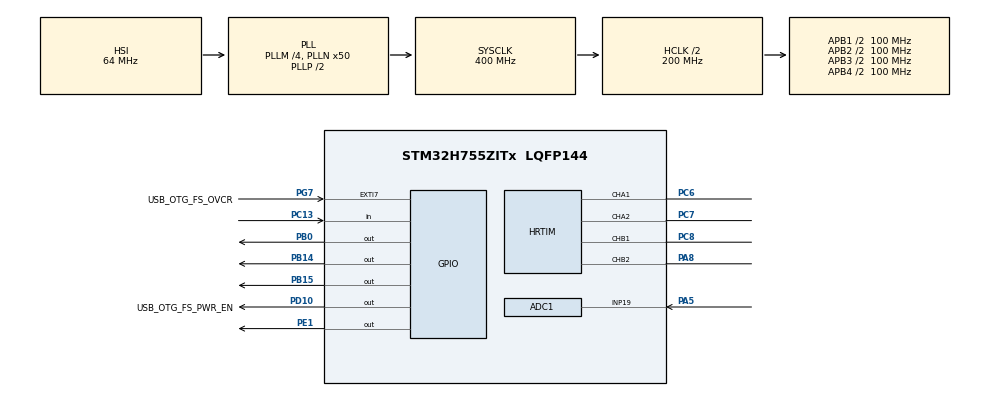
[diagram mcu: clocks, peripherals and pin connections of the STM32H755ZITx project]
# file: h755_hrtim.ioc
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ADC1.Channel-0\#ChannelRegularConversion=ADC_CHANNEL_19
ADC1.ConversionDataManagement=ADC_CONVERSIONDATA_DMA_CIRCULAR
ADC1.ExternalTrigConv=ADC_EXTERNALTRIG_HR1_ADCTRG1
ADC1.NbrOfConversion=1
ADC1.NbrOfConversionFlag=1
ADC1.OffsetNumber-0\#ChannelRegularConversion=ADC_OFFSET_NONE
ADC1.OffsetSignedSaturation-0\#ChannelRegularConversion=DISABLE
ADC1.Rank-0\#ChannelRegularConversion=1
ADC1.SamplingTime-0\#ChannelRegularConversion=ADC_SAMPLETIME_16CYCLES_5
ADC1.master=1
CortexM4.IPs=FATFS_M4\:I,FREERTOS_M4\:I,IWDG2\:I,RCC,WWDG2\:I,DMA,BDMA,MDMA,NVIC2\:I,ETH,USART3,DEBUG,PDM2PCM_M4\:I,PWR,RESMGR_UTILITY,SYS_M4\:I,USB_DEVICE_M4\:I,USB_HOST_M4\:I,CORTEX_M4\:I,GPIO,OPENAMP_M4\:I,VREFBUF,NUCLEO-H755ZI-Q
CortexM4.Pins=PB0,PB14,PE1
CortexM7.IPs=FATFS_M7\:I,FREERTOS_M7\:I,IWDG1\:I,RCC\:I,WWDG1\:I,DMA\:I,BDMA\:I,MDMA\:I,NVIC1\:I,ETH\:I,USART3\:I,USB_OTG_FS\:I,SYS\:I,CORTEX_M7\:I,DEBUG\:I,PDM2PCM_M7\:I,PWR\:I,RESMGR_UTILITY\:I,USB_DEVICE_M7\:I,USB_HOST_M7\:I,GPIO\:I,OPENAMP_M7\:I,VREFBUF\:I,NUCLEO-H755ZI-Q\:I,MEMORYMAP\:I,HRTIM\:I,ADC1\:I
CortexM7.Pins=PB15
Dma.ADC1.0.Direction=DMA_PERIPH_TO_MEMORY
Dma.ADC1.0.EventEnable=DISABLE
Dma.ADC1.0.FIFOMode=DMA_FIFOMODE_DISABLE
Dma.ADC1.0.Instance=DMA1_Stream0
Dma.ADC1.0.MemDataAlignment=DMA_MDATAALIGN_HALFWORD
Dma.ADC1.0.MemInc=DMA_MINC_ENABLE
Dma.ADC1.0.Mode=DMA_CIRCULAR
Dma.ADC1.0.PeriphDataAlignment=DMA_PDATAALIGN_HALFWORD
Dma.ADC1.0.PeriphInc=DMA_PINC_DISABLE
Dma.ADC1.0.Polarity=HAL_DMAMUX_REQ_GEN_RISING
Dma.ADC1.0.Priority=DMA_PRIORITY_HIGH
Dma.ADC1.0.RequestNumber=1
Dma.ADC1.0.SignalID=NONE
Dma.ADC1.0.SyncEnable=DISABLE
Dma.ADC1.0.SyncPolarity=HAL_DMAMUX_SYNC_NO_EVENT
Dma.ADC1.0.SyncRequestNumber=1
Dma.ADC1.0.SyncSignalID=NONE
Dma.HRTIM1_A.1.Direction=DMA_MEMORY_TO_PERIPH
Dma.HRTIM1_A.1.EventEnable=DISABLE
Dma.HRTIM1_A.1.FIFOMode=DMA_FIFOMODE_DISABLE
Dma.HRTIM1_A.1.Instance=DMA1_Stream1
Dma.HRTIM1_A.1.MemDataAlignment=DMA_MDATAALIGN_WORD
Dma.HRTIM1_A.1.MemInc=DMA_MINC_ENABLE
Dma.HRTIM1_A.1.Mode=DMA_CIRCULAR
Dma.HRTIM1_A.1.PeriphDataAlignment=DMA_PDATAALIGN_WORD
Dma.HRTIM1_A.1.PeriphInc=DMA_PINC_DISABLE
Dma.HRTIM1_A.1.Polarity=HAL_DMAMUX_REQ_GEN_RISING
Dma.HRTIM1_A.1.Priority=DMA_PRIORITY_VERY_HIGH
Dma.HRTIM1_A.1.RequestNumber=1
Dma.HRTIM1_A.1.SignalID=NONE
Dma.HRTIM1_A.1.SyncEnable=DISABLE
Dma.HRTIM1_A.1.SyncPolarity=HAL_DMAMUX_SYNC_NO_EVENT
Dma.HRTIM1_A.1.SyncRequestNumber=1
Dma.HRTIM1_A.1.SyncSignalID=NONE
Dma.HRTIM1_B.2.Direction=DMA_MEMORY_TO_PERIPH
Dma.HRTIM1_B.2.EventEnable=DISABLE
Dma.HRTIM1_B.2.FIFOMode=DMA_FIFOMODE_DISABLE
Dma.HRTIM1_B.2.Instance=DMA1_Stream2
Dma.HRTIM1_B.2.MemDataAlignment=DMA_MDATAALIGN_WORD
Dma.HRTIM1_B.2.MemInc=DMA_MINC_ENABLE
Dma.HRTIM1_B.2.Mode=DMA_CIRCULAR
Dma.HRTIM1_B.2.PeriphDataAlignment=DMA_PDATAALIGN_WORD
Dma.HRTIM1_B.2.PeriphInc=DMA_PINC_DISABLE
Dma.HRTIM1_B.2.Polarity=HAL_DMAMUX_REQ_GEN_RISING
Dma.HRTIM1_B.2.Priority=DMA_PRIORITY_VERY_HIGH
Dma.HRTIM1_B.2.RequestNumber=1
Dma.HRTIM1_B.2.SignalID=NONE
Dma.HRTIM1_B.2.SyncEnable=DISABLE
Dma.HRTIM1_B.2.SyncPolarity=HAL_DMAMUX_SYNC_NO_EVENT
Dma.HRTIM1_B.2.SyncRequestNumber=1
Dma.HRTIM1_B.2.SyncSignalID=NONE
Dma.Request0=ADC1
Dma.Request1=HRTIM1_A
Dma.Request2=HRTIM1_B
HRTIM.ADCTrigger1_Source1=HRTIM_ADCTRIGGEREVENT13_MASTER_CMP1
HRTIM.ADCTrigger_Id1=HRTIM_ADCTRIGGER_1
HRTIM.BurstDMAconfig-Output_TA1TA2=HRTIM_TIMERINDEX_TIMER_A
HRTIM.BurstDMAconfig-Output_TB1TB2=HRTIM_TIMERINDEX_TIMER_B
HRTIM.CaptureUnit1-Output_TA1TA2=__NULL
HRTIM.CompareUnit1-MasterTimer=HRTIM_COMPAREUNIT_1
HRTIM.CompareUnit1-Output_TA1TA2=HRTIM_COMPAREUNIT_1
HRTIM.CompareUnit1-Output_TB1TB2=HRTIM_COMPAREUNIT_1
HRTIM.CompareUnit2-MasterTimer=__NULL
HRTIM.CompareUnit2-Output_TA1TA2=HRTIM_COMPAREUNIT_2
HRTIM.CompareUnit2-Output_TB1TB2=HRTIM_COMPAREUNIT_2
HRTIM.CompareUnit3-Output_TA1TA2=__NULL
HRTIM.CompareUnit4-Output_TA1TA2=__NULL
HRTIM.CompareUnit4-Output_TB1TB2=__NULL
HRTIM.CompareValue1-MasterTimer=0x1046
HRTIM.CompareValue1-Output_TA1TA2=0x0341
HRTIM.CompareValue1-Output_TB1TB2=0x0341
HRTIM.CompareValue2-Output_TA1TA2=0x1D4B
HRTIM.CompareValue2-Output_TB1TB2=0x1D4B
HRTIM.Configuration_TA=Waveform
HRTIM.DMADstAddress-Output_TA1TA2=(uint32_t)&hhrtim.Instance->sCommonRegs.BDMADR
HRTIM.DMADstAddress-Output_TB1TB2=(uint32_t)&hhrtim.Instance->sCommonRegs.BDMADR
HRTIM.DMARequests1-Output_TA1TA2=HRTIM_TIM_DMA_UPD
HRTIM.DMARequests1-Output_TB1TB2=HRTIM_TIM_DMA_UPD
HRTIM.DMASize-Output_TA1TA2=0x2
HRTIM.DMASize-Output_TB1TB2=0x2
HRTIM.DMASrcAddress-Output_TA1TA2=(uint32_t)hrtim_dma_buffer
HRTIM.DMASrcAddress-Output_TB1TB2=(uint32_t)hrtim_dma_buffer1
HRTIM.DeadTimeInsertion-Output_TA1TA2=HRTIM_TIMDEADTIMEINSERTION_ENABLED
HRTIM.DeadTimeInsertion-Output_TB1TB2=HRTIM_TIMDEADTIMEINSERTION_ENABLED
HRTIM.Deadtimeconfig-Output_TA1TA2=HRTIM_TIMERINDEX_TIMER_A
HRTIM.FallingValue-Output_TA1TA2=0x28
HRTIM.FallingValue-Output_TB1TB2=0x28
HRTIM.ModeTimeBase-MasterTimer=HRTIM_MODE_CONTINUOUS
HRTIM.NumberADCTriggerSource1=1
HRTIM.NumberDMARequests_TA=1
HRTIM.NumberDMARequests_TB=1
HRTIM.NumberRegisters_BURSTDMA-Output_TA1TA2=2
HRTIM.NumberRegisters_BURSTDMA-Output_TB1TB2=2
HRTIM.NumberResetSource1-Output_TA1TA2=1
HRTIM.NumberResetSource1-Output_TB1TB2=1
HRTIM.NumberResetSource2_TA=0
HRTIM.NumberResetTrigger-Output_TA1TA2=1
HRTIM.NumberResetTrigger-Output_TB1TB2=1
HRTIM.NumberSetSource1-Output_TA1TA2=1
HRTIM.NumberSetSource1-Output_TB1TB2=1
HRTIM.NumberSetSource2_TA=0
HRTIM.Periode_MASTER=0x208D
HRTIM.Periode_TA=0x208D
HRTIM.Periode_TB=0x208D
HRTIM.Polarity2-Output_TA1TA2=HRTIM_OUTPUTPOLARITY_HIGH
HRTIM.PreloadEnable-Output_TA1TA2=HRTIM_PRELOAD_ENABLED
HRTIM.PreloadEnable-Output_TB1TB2=HRTIM_PRELOAD_ENABLED
HRTIM.PrescalerRatio_TA=HRTIM_PRESCALERRATIO_DIV1
HRTIM.RegistersToUpdate_Source1-Output_TA1TA2=HRTIM_BURSTDMA_CMP1
HRTIM.RegistersToUpdate_Source1-Output_TB1TB2=HRTIM_BURSTDMA_CMP1
HRTIM.RegistersToUpdate_Source2-Output_TA1TA2=HRTIM_BURSTDMA_CMP2
HRTIM.RegistersToUpdate_Source2-Output_TB1TB2=HRTIM_BURSTDMA_CMP2
HRTIM.RepetitionUpdate-Output_TA1TA2=HRTIM_UPDATEONREPETITION_ENABLED
HRTIM.RepetitionUpdate-Output_TB1TB2=HRTIM_UPDATEONREPETITION_ENABLED
HRTIM.ResetOutput1_Source1-Output_TA1TA2=HRTIM_OUTPUTRESET_TIMCMP1
HRTIM.ResetOutput1_Source1-Output_TB1TB2=HRTIM_OUTPUTRESET_TIMCMP1
HRTIM.ResetTrigger1-Output_TA1TA2=HRTIM_TIMRESETTRIGGER_MASTER_PER
HRTIM.ResetTrigger1-Output_TB1TB2=HRTIM_TIMRESETTRIGGER_MASTER_PER
HRTIM.ResetUpdate-Output_TA1TA2=HRTIM_TIMUPDATEONRESET_DISABLED
HRTIM.RisingValue-Output_TA1TA2=0x28
HRTIM.RisingValue-Output_TB1TB2=0x28
HRTIM.SetOutput1_Source1-Output_TA1TA2=HRTIM_OUTPUTSET_TIMCMP2
HRTIM.SetOutput1_Source1-Output_TB1TB2=HRTIM_OUTPUTSET_TIMCMP2
HRTIM.UpdateGating-Output_TA1TA2=HRTIM_UPDATEGATING_INDEPENDENT
Mcu.Family=STM32H7
Mcu.Name=STM32H755ZITx
Mcu.Package=LQFP144
NVIC1.ADC_IRQn=true\:0\:0\:false\:false\:true\:true\:true\:true
NVIC1.DMA1_Stream0_IRQn=true\:0\:0\:false\:false\:true\:false\:true\:true
NVIC1.DMA1_Stream1_IRQn=true\:0\:0\:false\:false\:true\:false\:true\:true
NVIC1.DMA1_Stream2_IRQn=true\:0\:0\:false\:false\:true\:false\:true\:true
NVIC1.HRTIM1_FLT_IRQn=true\:0\:0\:false\:false\:true\:true\:true\:true
NVIC1.HRTIM1_TIMA_IRQn=true\:0\:0\:false\:false\:true\:true\:true\:true
NVIC1.PriorityGroup=NVIC_PRIORITYGROUP_4
NVIC2.PriorityGroup=NVIC_PRIORITYGROUP_4
PA1.PinAttribute=CortexM7
PA1.Signal=ETH_REF_CLK
PA11.PinAttribute=CortexM7
PA11.Signal=USB_OTG_FS_DM
PA12.PinAttribute=CortexM7
PA12.Signal=USB_OTG_FS_DP
PA2.PinAttribute=CortexM7
PA2.Signal=ETH_MDIO
PA5.PinAttribute=CortexM7
PA5.Signal=ADCx_INP19
PA7.PinAttribute=CortexM7
PA7.Signal=ETH_CRS_DV
PA8.Mode=Output_TB1TB2
PA8.PinAttribute=CortexM7
PA8.Signal=HRTIM_CHB2
PA9.PinAttribute=CortexM7
PA9.Signal=USB_OTG_FS_VBUS
PB0.PinAttribute=CortexM4
PB0.Signal=GPIO_Output
PB13.PinAttribute=CortexM7
PB13.Signal=ETH_TXD1
PB14.PinAttribute=CortexM4
PB14.Signal=GPIO_Output
PB15.PinAttribute=CortexM7
PB15.Signal=GPIO_Output
PC1.PinAttribute=CortexM7
PC1.Signal=ETH_MDC
PC13.PinAttribute=Free
PC13.Signal=GPIO_Input
PC14-OSC32_IN\ (OSC32_IN).PinAttribute=Free
PC14-OSC32_IN\ (OSC32_IN).Signal=RCC_OSC32_IN
PC15-OSC32_OUT\ (OSC32_OUT).PinAttribute=Free
PC15-OSC32_OUT\ (OSC32_OUT).Signal=RCC_OSC32_OUT
PC4.PinAttribute=CortexM7
PC4.Signal=ETH_RXD0
PC5.PinAttribute=CortexM7
PC5.Signal=ETH_RXD1
PC6.Mode=Output_TA1TA2
PC6.PinAttribute=CortexM7
PC6.Signal=HRTIM_CHA1
PC7.Mode=Output_TA1TA2
PC7.PinAttribute=CortexM7
PC7.Signal=HRTIM_CHA2
PC8.Mode=Output_TB1TB2
PC8.PinAttribute=CortexM7
PC8.Signal=HRTIM_CHB1
PD10.GPIO_Label=USB_OTG_FS_PWR_EN
PD10.PinAttribute=Free
PD10.Signal=GPIO_Output
PD8.PinAttribute=CortexM7
PD8.Signal=USART3_TX
PD9.PinAttribute=CortexM7
PD9.Signal=USART3_RX
PE1.PinAttribute=CortexM4
PE1.Signal=GPIO_Output
PG11.PinAttribute=CortexM7
PG11.Signal=ETH_TX_EN
PG13.PinAttribute=CortexM7
PG13.Signal=ETH_TXD0
PG7.GPIO_Label=USB_OTG_FS_OVCR
PG7.PinAttribute=Free
PG7.Signal=GPXTI7
PH0-OSC_IN\ (PH0).Mode=HSE-External-Oscillator
PH0-OSC_IN\ (PH0).PinAttribute=Free
PH0-OSC_IN\ (PH0).Signal=RCC_OSC_IN
PH1-OSC_OUT\ (PH1).Mode=HSE-External-Oscillator
PH1-OSC_OUT\ (PH1).PinAttribute=Free
PH1-OSC_OUT\ (PH1).Signal=RCC_OSC_OUT
ProjectManager.HeapSize=M4-0x200,M7-0x200
ProjectManager.StackSize=M4-0x400,M7-0x400
ProjectManager.TargetToolchain=STM32CubeIDE
RCC.ADCFreq_Value=80000000
RCC.APB1Freq_Value=100000000
RCC.APB2Freq_Value=100000000
RCC.APB3Freq_Value=100000000
RCC.APB4Freq_Value=100000000
RCC.CortexFreq_Value=400000000
RCC.D1PPRE=RCC_APB3_DIV2
RCC.D2PPRE1=RCC_APB1_DIV2
RCC.D2PPRE2=RCC_APB2_DIV2
RCC.D3PPRE=RCC_APB4_DIV2
RCC.DIVM1=4
RCC.DIVM2=4
RCC.DIVN1=50
RCC.DIVN2=10
RCC.DIVQ1=5
RCC.HCLKFreq_Value=200000000
RCC.HPRE=RCC_HCLK_DIV2
RCC.HRTIMCLockSelection=RCC_HRTIM1CLK_CPUCLK
RCC.HSE_VALUE=8000000
RCC.PLL2FRACN=0
RCC.PLL3FRACN=0
RCC.PLLFRACN=0
RCC.SYSCLKFreq_VALUE=400000000
RCC.SYSCLKSource=RCC_SYSCLKSOURCE_PLLCLK
RCC.SupplySource=PWR_DIRECT_SMPS_SUPPLY
RCC.USBFreq_Value=160000000
SH.ADCx_INP19.0=ADC1_INP19,IN19-Single-Ended
VP_HRTIM_VS_hrtimMasterTimerNoOutput.Mode=MasterTimer
VP_MEMORYMAP_VS_MEMORYMAP.Mode=CurAppReg
VP_SYS_M4_VS_Systick.Mode=SysTick
board=NUCLEO-H755ZI-Q

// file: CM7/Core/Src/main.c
/* USER CODE BEGIN Header */
/**
 ******************************************************************************
 * @file           : main.c
 * @brief          : Main program body
 ******************************************************************************
 * @attention
 *
 * Copyright (c) 2026 STMicroelectronics.
 * All rights reserved.
 *
 * This software is licensed under terms that can be found in the LICENSE file
 * in the root directory of this software component.
 * If no LICENSE file comes with this software, it is provided AS-IS.
 *
 ******************************************************************************
 */
/* USER CODE END Header */
#include "main.h"
#include "adc.h"
#include "dma.h"
#include "hrtim.h"
#include "gpio.h"

/* USER CODE BEGIN Includes */

#include "LI_Measures.h"
#include "LI_Actuators.h"
#include <stdbool.h>

/* USER CODE END Includes */

/* USER CODE BEGIN PD */

/* DUAL_CORE_BOOT_SYNC_SEQUENCE: Define for dual core boot synchronization    */
/*                             demonstration code based on hardware semaphore */
/* This define is present in both CM7/CM4 projects                            */
/* To comment when developping/debugging on a single core                     */
#define DUAL_CORE_BOOT_SYNC_SEQUENCE

#if defined(DUAL_CORE_BOOT_SYNC_SEQUENCE)
#ifndef HSEM_ID_0
#define HSEM_ID_0 (0U) /* HW semaphore 0*/
#endif
#endif /* DUAL_CORE_BOOT_SYNC_SEQUENCE */

/* USER CODE END PD */

/* USER CODE BEGIN PV */

// HRTIM

float value_a = 50.0f;
float value_b = 50.0f;

/* USER CODE END PV */

void SystemClock_Config(void);

int main(void)
{

/* USER CODE BEGIN Boot_Mode_Sequence_0 */
#if defined(DUAL_CORE_BOOT_SYNC_SEQUENCE)
  int32_t timeout;
#endif /* DUAL_CORE_BOOT_SYNC_SEQUENCE */
/* USER CODE END Boot_Mode_Sequence_0 */

/* USER CODE BEGIN Boot_Mode_Sequence_1 */
#if defined(DUAL_CORE_BOOT_SYNC_SEQUENCE)
  /* Wait until CPU2 boots and enters in stop mode or timeout*/
  timeout = 0xFFFF;
  while ((__HAL_RCC_GET_FLAG(RCC_FLAG_D2CKRDY) != RESET) && (timeout-- > 0))
    ;
  if (timeout < 0)
  {
    // Error_Handler();
  }
#endif /* DUAL_CORE_BOOT_SYNC_SEQUENCE */
/* USER CODE END Boot_Mode_Sequence_1 */
  /* MCU Configuration--------------------------------------------------------*/

  /* Reset of all peripherals, Initializes the Flash interface and the Systick. */
  HAL_Init();

  /* Configure the system clock */
  SystemClock_Config();
/* USER CODE BEGIN Boot_Mode_Sequence_2 */
#if defined(DUAL_CORE_BOOT_SYNC_SEQUENCE)
  /* When system initialization is finished, Cortex-M7 will release Cortex-M4 by means of
  HSEM notification */
  /*HW semaphore Clock enable*/
  __HAL_RCC_HSEM_CLK_ENABLE();
  /*Take HSEM */
  HAL_HSEM_FastTake(HSEM_ID_0);
  /*Release HSEM in order to notify the CPU2(CM4)*/
  HAL_HSEM_Release(HSEM_ID_0, 0);
  /* wait until CPU2 wakes up from stop mode */
  timeout = 0xFFFF;
  while ((__HAL_RCC_GET_FLAG(RCC_FLAG_D2CKRDY) == RESET) && (timeout-- > 0))
    ;
  if (timeout < 0)
  {
    // Error_Handler();
  }
#endif /* DUAL_CORE_BOOT_SYNC_SEQUENCE */
/* USER CODE END Boot_Mode_Sequence_2 */

  /* Initialize all configured peripherals */
  MX_GPIO_Init();
  MX_DMA_Init();
  MX_HRTIM_Init();
  MX_ADC1_Init();
  /* USER CODE BEGIN 2 */

  // ADC
  if (LI_start_adc_dma() != LI_MEASURES_STATUS_OK)
  {
    Error_Handler();
  }

  // HRTIM
  if (LI_initialize_timers() != LI_ACTUATORS_STATUS_OK)
  {
    Error_Handler();
  }

  if (LI_start_timer(TIMER_A) != LI_ACTUATORS_STATUS_OK)
  {
    Error_Handler();
  }

  if (LI_start_timer(TIMER_B) != LI_ACTUATORS_STATUS_OK)
  {
    Error_Handler();
  }

  /* USER CODE END 2 */

  /* Infinite loop */
  /* USER CODE BEGIN WHILE */

  float old_value_a = -1.0f;
  float old_value_b = -1.0f;
  uint32_t ultimo_toggle_timer_a = HAL_GetTick();
  bool timer_a_ligado = true;

  while (1)
  {

    /*
    if ((HAL_GetTick() - ultimo_toggle_timer_a) >= 1000U)
    {
      if (timer_a_ligado)
      {
        (void)LI_stop_timer(TIMER_A);
        // LI_start_timer(TIMER_B);
        timer_a_ligado = false;
      }
      else
      {
        (void)LI_start_timer(TIMER_A);
        // LI_stop_timer(TIMER_B);
        timer_a_ligado = true;
      }
      ultimo_toggle_timer_a = HAL_GetTick();
    }
    */

    if (old_value_a != value_a)
    {
      (void)LI_hrtim_update_duty_channel(TIMER_A, value_a);
      old_value_a = value_a;
    }

    if (old_value_b != value_b)
    {
      (void)LI_hrtim_update_duty_channel(TIMER_B, value_b);
      old_value_b = value_b;
    }

    (void)LI_pwm_control();

    /* USER CODE END WHILE */

  }
}

void SystemClock_Config(void)
{
  RCC_OscInitTypeDef RCC_OscInitStruct = {0};
  RCC_ClkInitTypeDef RCC_ClkInitStruct = {0};

  /** Supply configuration update enable
  */
  HAL_PWREx_ConfigSupply(PWR_DIRECT_SMPS_SUPPLY);

  /** Configure the main internal regulator output voltage
  */
  __HAL_PWR_VOLTAGESCALING_CONFIG(PWR_REGULATOR_VOLTAGE_SCALE1);

  while(!__HAL_PWR_GET_FLAG(PWR_FLAG_VOSRDY)) {}

  /** Initializes the RCC Oscillators according to the specified parameters
  * in the RCC_OscInitTypeDef structure.
  */
  RCC_OscInitStruct.OscillatorType = RCC_OSCILLATORTYPE_HSI;
  RCC_OscInitStruct.HSIState = RCC_HSI_DIV1;
  RCC_OscInitStruct.HSICalibrationValue = RCC_HSICALIBRATION_DEFAULT;
  RCC_OscInitStruct.PLL.PLLState = RCC_PLL_ON;
  RCC_OscInitStruct.PLL.PLLSource = RCC_PLLSOURCE_HSI;
  RCC_OscInitStruct.PLL.PLLM = 4;
  RCC_OscInitStruct.PLL.PLLN = 50;
  RCC_OscInitStruct.PLL.PLLP = 2;
  RCC_OscInitStruct.PLL.PLLQ = 5;
  RCC_OscInitStruct.PLL.PLLR = 2;
  RCC_OscInitStruct.PLL.PLLRGE = RCC_PLL1VCIRANGE_3;
  RCC_OscInitStruct.PLL.PLLVCOSEL = RCC_PLL1VCOWIDE;
  RCC_OscInitStruct.PLL.PLLFRACN = 0;
  if (HAL_RCC_OscConfig(&RCC_OscInitStruct) != HAL_OK)
  {
    Error_Handler();
  }

  /** Initializes the CPU, AHB and APB buses clocks
  */
  RCC_ClkInitStruct.ClockType = RCC_CLOCKTYPE_HCLK|RCC_CLOCKTYPE_SYSCLK
                              |RCC_CLOCKTYPE_PCLK1|RCC_CLOCKTYPE_PCLK2
                              |RCC_CLOCKTYPE_D3PCLK1|RCC_CLOCKTYPE_D1PCLK1;
  RCC_ClkInitStruct.SYSCLKSource = RCC_SYSCLKSOURCE_PLLCLK;
  RCC_ClkInitStruct.SYSCLKDivider = RCC_SYSCLK_DIV1;
  RCC_ClkInitStruct.AHBCLKDivider = RCC_HCLK_DIV2;
  RCC_ClkInitStruct.APB3CLKDivider = RCC_APB3_DIV2;
  RCC_ClkInitStruct.APB1CLKDivider = RCC_APB1_DIV2;
  RCC_ClkInitStruct.APB2CLKDivider = RCC_APB2_DIV2;
  RCC_ClkInitStruct.APB4CLKDivider = RCC_APB4_DIV2;

  if (HAL_RCC_ClockConfig(&RCC_ClkInitStruct, FLASH_LATENCY_2) != HAL_OK)
  {
    Error_Handler();
  }
}

void Error_Handler(void)
{
  __disable_irq();
  while (1)
  {
  }
}
